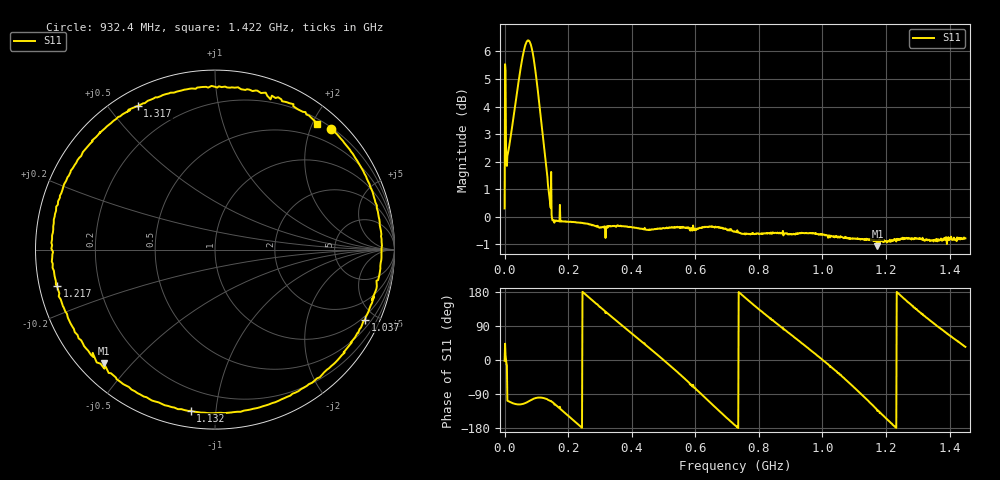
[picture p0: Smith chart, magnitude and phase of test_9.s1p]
! Created with skrf 1.11.0 (http://scikit-rf.org).
# Hz S RI R 50.0
!freq ReS11 ImS11
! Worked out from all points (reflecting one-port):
!   1001 points, 50 kHz to 1.45 GHz, reference 50 ohm
!   lowest |S11| = -1.1 dB at 1.173 GHz (marker M1), VSWR 16.35, Z = 3.59 - j20.9 ohm
!   phase of S11 starts at -2 deg and turns -1043 deg over the sweep
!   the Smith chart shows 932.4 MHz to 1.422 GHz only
!   S11 on the Smith chart (normalised r, x): 932.4 MHz: 0.22, +2.32; 1.037 GHz: 0.84, -4.35; 1.132 GHz: 0.08, -0.86; 1.217 GHz: 0.05, -0.11; 1.317 GHz: 0.06, +0.60; 1.422 GHz: 0.27, +2.07
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50000  1.035 -0.0393
1.599945e7  -0.4774 -1.274
5.079825e7  -0.8478 -1.662
7.54474e7  -0.6889 -1.972
1.17496e8  -0.2404 -1.43
1.812938e8  -0.6742 -0.7128
2.639409e8  -0.9419 0.231
3.625375e8  -0.1018 0.9565
4.118358e8  0.4503 0.8426
4.65484e8  0.8628 0.3941
5.437812e8  0.8151 -0.5063
6.307782e8  -0.1565 -0.9465
6.815265e8  -0.7243 -0.624
7.25025e8  -0.9324 -0.126
8.236216e8  -0.4376 0.8257
9.062688e8  0.414 0.8324
9.323678e8  0.6448 0.6746
9.86016e8  0.9161 0.1655
1.036764e9  0.8353 -0.3902
1.087512e9  0.4198 -0.8134
1.132461e9  -0.1356 -0.8977
1.17306e9  -0.6195 -0.6317
1.216558e9  -0.8799 -0.2016
1.268756e9  -0.8148 0.411
1.316605e9  -0.4313 0.8004
1.367353e9  0.0676 0.9034
1.422451e9  0.5683 0.7024
1.45e9  0.7514 0.5208
